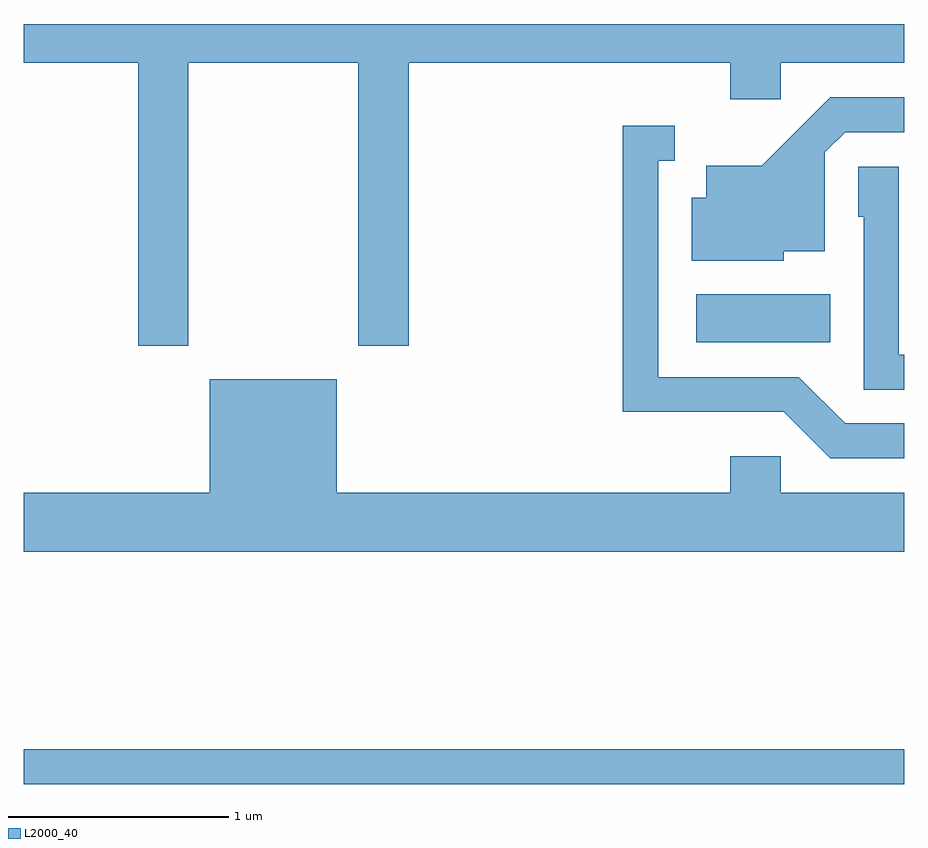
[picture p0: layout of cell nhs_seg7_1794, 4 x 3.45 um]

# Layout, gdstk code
import gdstk
lib = gdstk.Library(unit=1e-6, precision=1e-09)
def R(c, l, rs):  # rectangles x0, y0, x1, y1
    for r in rs: c.add(gdstk.rectangle(r[:2], r[2:], *l))
def P(c, l, *ps):  # polygons
    for p in ps: c.add(gdstk.Polygon(p, *l))
L2000_40 = (2000, 40)

nhs_seg7_1794 = lib.new_cell('nhs_seg7_1794')
R(nhs_seg7_1794, L2000_40, [(239.611,1728.801,243.611,1728.959), (242.666,1730.806,243.274,1731.024)])
P(nhs_seg7_1794, L2000_40, [(240.359,1732.076),(241.131,1732.076),(241.131,1730.791),(241.359,1730.791),(241.359,1732.076),(242.821,1732.076),(242.821,1731.911),(243.049,1731.911),(243.049,1732.076),(243.611,1732.076),(243.611,1732.252),(239.611,1732.252),(239.611,1732.076),(240.131,1732.076),(240.131,1730.791),(240.359,1730.791)],
  [(243.064,1731.221),(243.249,1731.221),(243.249,1731.669),(243.342,1731.761),(243.611,1731.761),(243.611,1731.919),(243.274,1731.919),(242.964,1731.609),(242.711,1731.609),(242.711,1731.464),(242.646,1731.464),(242.646,1731.176),(243.064,1731.176)],
  [(243.611,1730.439),(243.342,1730.439),(243.132,1730.649),(242.494,1730.649),(242.494,1731.631),(242.568,1731.631),(242.568,1731.789),(242.331,1731.789),(242.331,1730.491),(243.064,1730.491),(243.274,1730.281),(243.611,1730.281)],
  [(243.611,1730.749),(243.584,1730.749),(243.584,1731.604),(243.401,1731.604),(243.401,1731.376),(243.426,1731.376),(243.426,1730.591),(243.611,1730.591)],
  [(243.611,1730.124),(243.049,1730.124),(243.049,1730.289),(242.821,1730.289),(242.821,1730.124),(241.034,1730.124),(241.034,1730.639),(240.456,1730.639),(240.456,1730.124),(239.611,1730.124),(239.611,1729.856),(243.611,1729.856)])

lib.write_gds('nhs_seg7_1794.gds')
